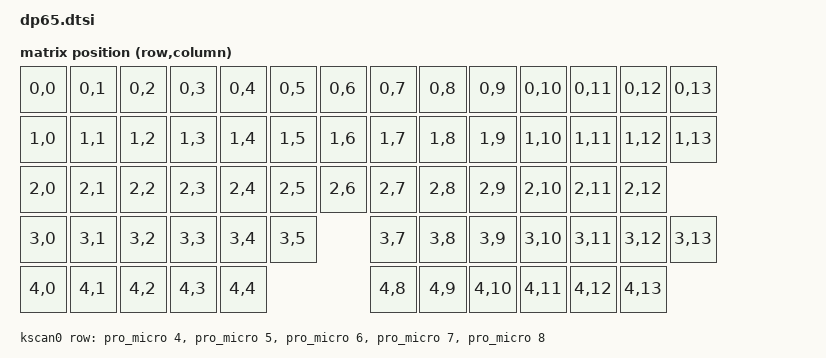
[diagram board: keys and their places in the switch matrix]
/*
 * DP65 ZMK shield scaffold.
 *
 * Hardware target:
 * - split 65% keyboard
 * - nice!nano / nice!nano v2 controller footprint
 * - nice!view display via ZMK's nice_view_adapter + nice_view shields
 * - AS5600 magnetic encoder/scrubber reserved on I2C for future driver support
 *
 * This file intentionally does not vendor ZMK. The firmware tree is a standard
 * ZMK user-config style module pulled by west from firmware/config/west.yml.
 */

#include <dt-bindings/zmk/matrix_transform.h>

/ {
    chosen {
        zmk,kscan = &kscan0;
        zmk,physical-layout = &dp65_layout;
    };

    dp65_layout: dp65_layout {
        compatible = "zmk,physical-layout";
        display-name = "DP65";
        transform = <&default_transform>;
    };

    default_transform: keymap_transform_0 {
        compatible = "zmk,matrix-transform";
        columns = <14>;
        rows = <5>;

        /*
         * DP65 PCB notes currently identify a 65-key design with 5 row nets and
         * seven column nets per half. The map below exposes 64 key positions;
         * the large scrubber/encoder is handled through sensor bindings once
         * the AS5600 driver/module is added.
         *
         * Left half columns are 0..6, right half columns are 7..13.
         */
        map = <
            RC(0,0) RC(0,1) RC(0,2) RC(0,3) RC(0,4) RC(0,5) RC(0,6)   RC(0,7) RC(0,8) RC(0,9) RC(0,10) RC(0,11) RC(0,12) RC(0,13)
            RC(1,0) RC(1,1) RC(1,2) RC(1,3) RC(1,4) RC(1,5) RC(1,6)   RC(1,7) RC(1,8) RC(1,9) RC(1,10) RC(1,11) RC(1,12) RC(1,13)
            RC(2,0) RC(2,1) RC(2,2) RC(2,3) RC(2,4) RC(2,5) RC(2,6)   RC(2,7) RC(2,8) RC(2,9) RC(2,10) RC(2,11) RC(2,12)
            RC(3,0) RC(3,1) RC(3,2) RC(3,3) RC(3,4) RC(3,5)           RC(3,7) RC(3,8) RC(3,9) RC(3,10) RC(3,11) RC(3,12) RC(3,13)
            RC(4,0) RC(4,1) RC(4,2) RC(4,3) RC(4,4)                    RC(4,8) RC(4,9) RC(4,10) RC(4,11) RC(4,12) RC(4,13)
        >;
    };

    kscan0: kscan {
        compatible = "zmk,kscan-gpio-matrix";
        wakeup-source;
        diode-direction = "col2row";

        /* TODO: confirm against final PCB netlist before flashing hardware. */
        row-gpios
            = <&pro_micro 4 (GPIO_ACTIVE_HIGH | GPIO_PULL_DOWN)>
            , <&pro_micro 5 (GPIO_ACTIVE_HIGH | GPIO_PULL_DOWN)>
            , <&pro_micro 6 (GPIO_ACTIVE_HIGH | GPIO_PULL_DOWN)>
            , <&pro_micro 7 (GPIO_ACTIVE_HIGH | GPIO_PULL_DOWN)>
            , <&pro_micro 8 (GPIO_ACTIVE_HIGH | GPIO_PULL_DOWN)>
            ;
    };
};

&pro_micro_i2c {
    status = "okay";

    /*
     * Placeholder for the AS5600 magnetic encoder/scrubber.
     *
     * Typical AS5600 I2C address is 0x36. This node is disabled until a ZMK
     * compatible sensor/input driver is added. Leaving it disabled keeps the
     * scaffold buildable while documenting the hardware integration point.
     */
    as5600: as5600@36 {
        compatible = "ams,as5600";
        reg = <0x36>;
        status = "disabled";
    };
};
